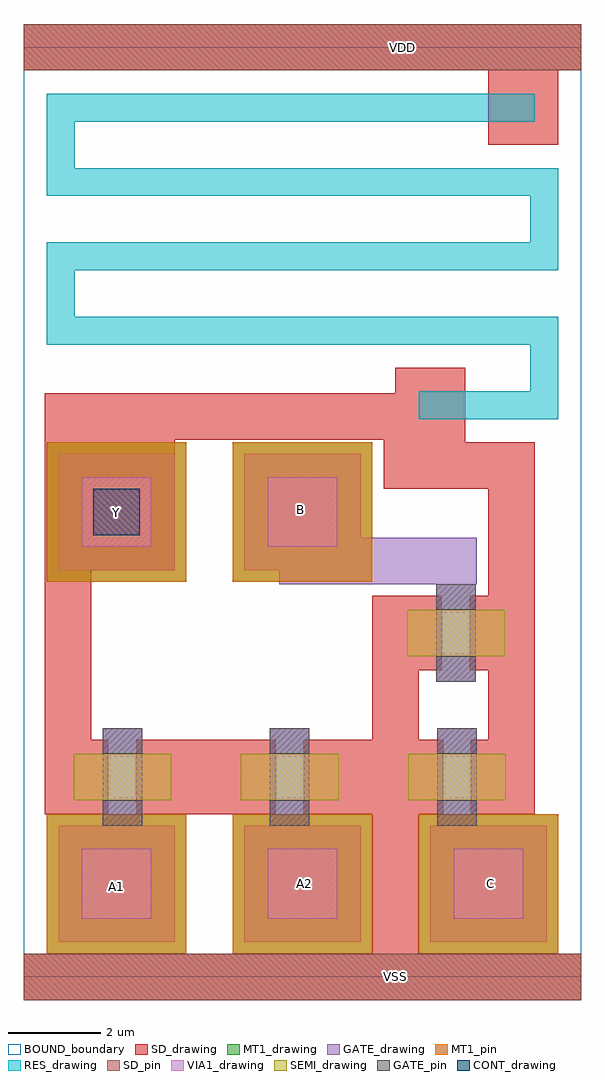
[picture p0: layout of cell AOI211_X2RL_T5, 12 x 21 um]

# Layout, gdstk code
from math import pi, radians
import gdstk
lib = gdstk.Library(unit=1e-6, precision=1e-09)
def R(c, l, rs):  # rectangles x0, y0, x1, y1
    for r in rs: c.add(gdstk.rectangle(r[:2], r[2:], *l))
def A(c, l, x, y, w, h, nx, ny, dx, dy):  # array of equal rectangles
    R(c, l, [(x+i*dx, y+j*dy, x+i*dx+w, y+j*dy+h) for i in range(nx) for j in range(ny)])
def P(c, l, *ps):  # polygons
    for p in ps: c.add(gdstk.Polygon(p, *l))
RES_drawing = (1, 0)
SEMI_drawing = (3, 0)
SD_drawing = (10, 0)
SD_pin = (10, 3)
GATE_drawing = (11, 0)
GATE_pin = (11, 3)
MT1_drawing = (20, 0)
MT1_pin = (20, 3)
CONT_drawing = (30, 0)
VIA1_drawing = (41, 0)
BOUND_boundary = (150, 5)

nch_cdns_772544878150 = lib.new_cell('nch_CDNS_772544878150')
R(nch_cdns_772544878150, SEMI_drawing, [(-1.05,-0.5,1.05,0.5)])
R(nch_cdns_772544878150, SD_drawing, [(-1.3,-0.8,-0.3,0.8), (0.3,-0.8,1.3,0.8)])
R(nch_cdns_772544878150, GATE_drawing, [(-0.425,-1.05,0.425,1.05)])
R(nch_cdns_772544878150, GATE_pin, [(-0.425,-1.05,0.425,-0.5), (-0.425,0.5,0.425,1.05)])

gate_mt1_cdns_7725448781 = lib.new_cell('GATE_MT1_CDNS_772544878150')
R(gate_mt1_cdns_7725448781, GATE_drawing, [(-1.25,-1.25,1.25,1.25)])
R(gate_mt1_cdns_7725448781, MT1_drawing, [(-1.25,-1.25,1.25,1.25)])
R(gate_mt1_cdns_7725448781, VIA1_drawing, [(-0.75,-0.75,0.75,0.75)])

sd_gate_cdns_77254487815 = lib.new_cell('SD_GATE_CDNS_772544878151')
R(sd_gate_cdns_77254487815, SD_drawing, [(-1,-1,1,1)])
R(sd_gate_cdns_77254487815, GATE_drawing, [(-1,-1,1,1)])
R(sd_gate_cdns_77254487815, CONT_drawing, [(-0.5,-0.5,0.5,0.5)])

aoi211_x2rl_t5 = lib.new_cell('AOI211_X2RL_T5')
R(aoi211_x2rl_t5, SD_drawing, [(0.75,8.75,3.25,11.25), (0.7,11.25,3.25,12.35), (8,11.5,9.5,13.1), (10,17.9,11.5,19.5)])
R(aoi211_x2rl_t5, SD_pin, [(0,-0.5,12,0.5), (0,19.5,12,20.5)])
R(aoi211_x2rl_t5, GATE_drawing, [(8.775,3.15,9.775,3.25)])
P(aoi211_x2rl_t5, GATE_drawing, [(9.75,8.55),(8.825,8.55),(8.825,8.45),(8.925,8.45),(8.925,8.4),(9.675,8.4),(9.675,8.45),(9.75,8.45)],
  [(5.125,3.15),(6.125,3.15),(6.125,3.25),(6.05,3.25),(6.05,3.3),(5.3,3.3),(5.3,3.25),(5.125,3.25)],
  [(1.525,3.15),(2.525,3.15),(2.525,3.25),(2.5,3.25),(2.5,3.3),(1.75,3.3),(1.75,3.25),(1.525,3.25)])
A(aoi211_x2rl_t5, MT1_drawing, 0.5, 0.5, 3, 3, 3, 1, 4, 0)
R(aoi211_x2rl_t5, MT1_drawing, [(0.5,8.5,3.5,11.5), (4.5,8.5,7.5,11.5)])
A(aoi211_x2rl_t5, MT1_pin, 0.5, 0.5, 3, 3, 3, 1, 4, 0)
R(aoi211_x2rl_t5, MT1_pin, [(0.5,8.5,3.5,11.5), (4.5,8.5,7.5,11.5)])
R(aoi211_x2rl_t5, BOUND_boundary, [(0,0,12,20)])
aoi211_x2rl_t5.add(gdstk.FlexPath([(9.25,8.45),(9.25,8.95)], 1, ends=(0, 0.5), simple_path=True, layer=11, datatype=0))  # GATE_drawing
aoi211_x2rl_t5.add(gdstk.FlexPath([(9.25,8.95),(6,8.95)], 1, ends="extended", simple_path=True, layer=11, datatype=0))  # GATE_drawing
aoi211_x2rl_t5.add(gdstk.FlexPath([(6,8.95),(6,10.1)], 1, ends=(0.5, 0), simple_path=True, layer=11, datatype=0))  # GATE_drawing
aoi211_x2rl_t5.add(gdstk.FlexPath([(2,3.25),(2,2)], 2.5, ends="flush", simple_path=True, layer=11, datatype=0))  # GATE_drawing
aoi211_x2rl_t5.add(gdstk.FlexPath([(6,3.25),(6,2)], 1, ends="flush", simple_path=True, layer=11, datatype=0))  # GATE_drawing
aoi211_x2rl_t5.add(gdstk.FlexPath([(8,8.2),(8,4.3)], 1, ends=(0, 0.8), simple_path=True, layer=10, datatype=0))  # SD_drawing
aoi211_x2rl_t5.add(gdstk.FlexPath([(8.25,11),(10.5,11)], 1, ends="extended", simple_path=True, layer=10, datatype=0))  # SD_drawing
aoi211_x2rl_t5.add(gdstk.FlexPath([(8.25,12.05),(8.25,11)], 1, ends="extended", simple_path=True, layer=10, datatype=0))  # SD_drawing
aoi211_x2rl_t5.add(gdstk.FlexPath([(0.95,3.5),(0.95,12.55)], 1, ends="flush", simple_path=True, layer=10, datatype=0))  # SD_drawing
aoi211_x2rl_t5.add(gdstk.FlexPath([(10.5,11),(10.5,3.5)], 1, ends=(0.5, 0), simple_path=True, layer=10, datatype=0))  # SD_drawing
aoi211_x2rl_t5.add(gdstk.FlexPath([(1.2,12.05),(8.25,12.05)], 1, ends="extended", simple_path=True, layer=10, datatype=0))  # SD_drawing
aoi211_x2rl_t5.add(gdstk.FlexPath([(8,0),(8,4.3)], 1, ends=(0.5, 0.8), simple_path=True, layer=10, datatype=0))  # SD_drawing
aoi211_x2rl_t5.add(gdstk.FlexPath([(6.975,4.3),(8,4.3)], 1.6, ends=(0, 0.5), simple_path=True, layer=10, datatype=0))  # SD_drawing
aoi211_x2rl_t5.add(gdstk.FlexPath([(3.425,4.3),(4.425,4.3)], 1.6, ends="flush", simple_path=True, layer=10, datatype=0))  # SD_drawing
aoi211_x2rl_t5.add(gdstk.FlexPath([(8,0),(12,0)], 1, ends=(0.5, 0), simple_path=True, layer=10, datatype=0))  # SD_drawing
aoi211_x2rl_t5.add(gdstk.FlexPath([(0,0),(8,0)], 1, ends=(0, 0.5), simple_path=True, layer=10, datatype=0))  # SD_drawing
aoi211_x2rl_t5.add(gdstk.FlexPath([(12,20),(0,20)], 1, ends="flush", simple_path=True, layer=10, datatype=0))  # SD_drawing
aoi211_x2rl_t5.add(gdstk.FlexPath([(11,18.7),(0.8,18.7),(0.8,17.1),(11.2,17.1),(11.2,15.5),(0.8,15.5),(0.8,13.9),(11.2,13.9),(11.2,12.3),(8.5,12.3)], 0.6, ends="flush", simple_path=True, layer=1, datatype=0))  # RES_drawing
aoi211_x2rl_t5.add(gdstk.Reference(nch_cdns_772544878150, (9.325,4.3), x_reflection=True))
aoi211_x2rl_t5.add(gdstk.Reference(nch_cdns_772544878150, (2.125,4.3)))
aoi211_x2rl_t5.add(gdstk.Reference(nch_cdns_772544878150, (5.725,4.3), rotation=pi, x_reflection=True))
aoi211_x2rl_t5.add(gdstk.Reference(nch_cdns_772544878150, (9.3,7.4), x_reflection=True))
aoi211_x2rl_t5.add(gdstk.Reference(gate_mt1_cdns_7725448781, (2,10)))
aoi211_x2rl_t5.add(gdstk.Reference(gate_mt1_cdns_7725448781, (10,2)))
aoi211_x2rl_t5.add(gdstk.Reference(gate_mt1_cdns_7725448781, (6,10)))
aoi211_x2rl_t5.add(gdstk.Reference(gate_mt1_cdns_7725448781, (2,2)))
aoi211_x2rl_t5.add(gdstk.Reference(gate_mt1_cdns_7725448781, (6,2)))
aoi211_x2rl_t5.add(gdstk.Reference(sd_gate_cdns_77254487815, (2,10)))
aoi211_x2rl_t5.add(gdstk.Label('VSS', (8,0), layer=10, texttype=3))
aoi211_x2rl_t5.add(gdstk.Label('VDD', (8.15,20), layer=10, texttype=3))
aoi211_x2rl_t5.add(gdstk.Label('A1', (2,1.95), layer=20, texttype=3))
aoi211_x2rl_t5.add(gdstk.Label('A2', (6.05,2), layer=20, texttype=3))
aoi211_x2rl_t5.add(gdstk.Label('C', (10.05,2), layer=20, texttype=3))
aoi211_x2rl_t5.add(gdstk.Label('B', (5.95,10.05), layer=20, texttype=3))
aoi211_x2rl_t5.add(gdstk.Label('Y', (2,10), layer=20, texttype=3))

lib.write_gds('AOI211_X2RL_T5.gds')
